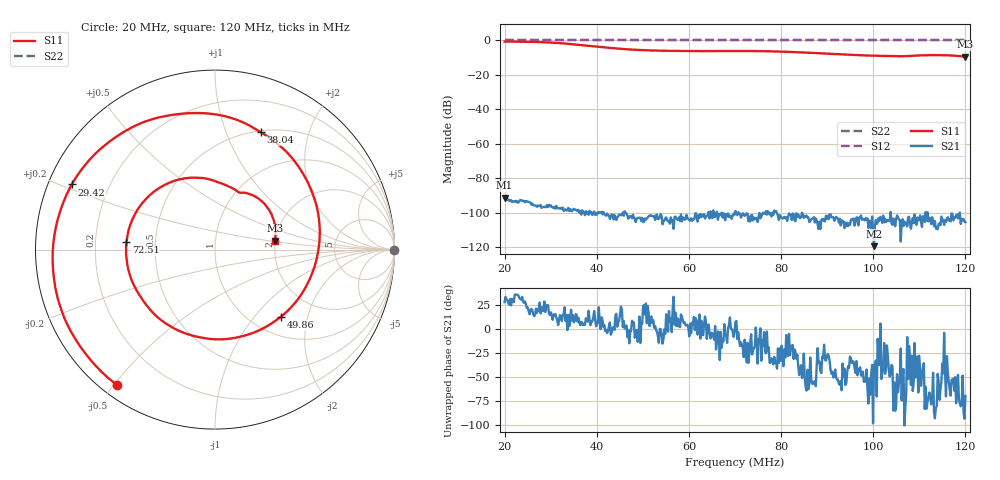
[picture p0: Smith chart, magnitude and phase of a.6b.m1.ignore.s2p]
! Anritsu VNA Master:  Model: MS2036C/10/77
! SN:  1601066
! /bd0/18may07/256.ns.m1.s2p
! Existing Calibration Information:
! TYPE:  Current Settings,  Active Cal Settings
! TIME:  05/07/2018 02:53:09 PM,  05/07/2018 02:45:31 PM
! INTERNAL TEMP:  57.8 C,  56.0 C
! # POINTS:  500,  500
! START FREQ:  20.000 MHz,  20.000 MHz
! STOP FREQ:  120.000 MHz,  120.000 MHz
! SOURCE POWER:  High,  High
! IFBW:  50 Hz,  50 Hz
! AVG FACTOR:  1 ,  1
! REF PLANE 1:  0 mm,  0 mm
! REF PLANE 2:  0 mm,  0 mm
! CAL TYPE:  Full S11,  Full S11
! CAL METHOD:  SOLT,  SOLT
! CAL LINE TYPE:  Coax,  Coax
! DUT PORT 1:  K-Conn(F),  K-Conn(F)
! DUT PORT 2:  K-Conn(F),  K-Conn(F)
! CAL STATUS:  OK: Accuracy High,  --
# GHZ S DB R 50.0
! FREQ.GHZ  S11DB  S11A  S21DB  S21A  S12DB  S12A  S22DB  S22A
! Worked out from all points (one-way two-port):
!   500 points, 20 MHz to 120 MHz, reference 50 ohm
!   highest |S21| = -91.31 dB at 20 MHz (marker M1); lowest = -119.4 dB at 100.2 MHz (marker M2)
!   lowest |S11| = -9.5 dB at 120 MHz (marker M3), VSWR 2.01, Z = 99 + j11.1 ohm
!   |S11| at or under -10 dB: nowhere
!   |S22| runs from 0.0 to 0.0 dB; largest |S21 - S12| = 1
!   S11 on the Smith chart (normalised r, x): 20 MHz: 0.05, -0.51; 29.42 MHz: 0.07, +0.22; 38.04 MHz: 0.52, +1.33; 49.86 MHz: 1.34, -1.38; 72.51 MHz: 0.34, +0.04; 120 MHz: 1.98, +0.22
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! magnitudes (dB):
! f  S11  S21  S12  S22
! 20 MHz  -0.6  -91.3  0.0  0.0
! 24.81 MHz  -0.8  -93.3  0.0  0.0
! 29.42 MHz  -1.1  -96.6  0.0  0.0
! 33.03 MHz  -1.8  -98.4  0.0  0.0
! 36.83 MHz  -2.7  -98.6  0.0  0.0
! 38.04 MHz  -3.1  -99.8  0.0  0.0
! 45.05 MHz  -4.8  -101.2  0.0  0.0
! 49.86 MHz  -5.6  -103.0  0.0  0.0
! 53.47 MHz  -5.9  -103.6  0.0  0.0
! 63.89 MHz  -6.2  -102.0  0.0  0.0
! 70.1 MHz  -6.1  -99.0  0.0  0.0
! 72.51 MHz  -6.1  -100.4  0.0  0.0
! 78.72 MHz  -6.4  -99.5  0.0  0.0
! 86.73 MHz  -7.2  -103.6  0.0  0.0
! 96.35 MHz  -8.5  -102.8  0.0  0.0
! 100.2 MHz  -8.9  -119.4  0.0  0.0
! 103.4 MHz  -9.1  -104.4  0.0  0.0
! 105.8 MHz  -9.2  -104.3  0.0  0.0
! 110.4 MHz  -8.7  -105.4  0.0  0.0
! 113.8 MHz  -8.5  -108.4  0.0  0.0
! 117.2 MHz  -8.8  -100.7  0.0  0.0
! 120 MHz  -9.5  -105.5  0.0  0.0
